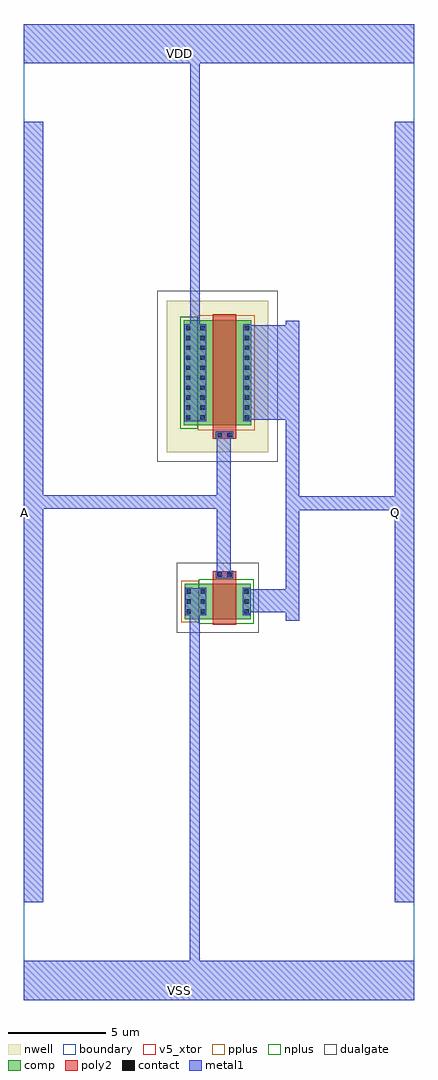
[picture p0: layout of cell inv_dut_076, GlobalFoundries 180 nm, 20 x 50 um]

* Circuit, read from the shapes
.subckt inv_dut_076 A Q VDD VSS
XM1 Q A VSS VSS nfet_05v0 w=1.8u l=1.2u
XM2 Q A VDD VDD pfet_05v0 w=5.4u l=1.2u
.ends

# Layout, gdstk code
from math import pi, radians
import gdstk
lib = gdstk.Library(unit=1e-6, precision=1e-09)
def R(c, l, rs):  # rectangles x0, y0, x1, y1
    for r in rs: c.add(gdstk.rectangle(r[:2], r[2:], *l))
def A(c, l, x, y, w, h, nx, ny, dx, dy):  # array of equal rectangles
    R(c, l, [(x+i*dx, y+j*dy, x+i*dx+w, y+j*dy+h) for i in range(nx) for j in range(ny)])
boundary = (0, 0)
nwell = (21, 0)
comp = (22, 0)
poly2 = (30, 0)
pplus = (31, 0)
nplus = (32, 0)
contact = (33, 0)
metal1 = (34, 0)
dualgate = (55, 0)
v5_xtor = (112, 1)

nfet = lib.new_cell('nfet')
R(nfet, comp, [(-0.42,0,2.95,1.8)])
R(nfet, poly2, [(0.31,-0.3,1.51,2.46)])
R(nfet, pplus, [(2.24,-0.17,3.12,1.97)])
R(nfet, nplus, [(-0.59,-0.24,2.24,2.04)])
A(nfet, contact, -0.32, 0.28, 0.22, 0.22, 1, 3, 0, 0.51)
A(nfet, contact, 1.92, 0.28, 0.22, 0.22, 1, 3, 0, 0.51)
A(nfet, contact, 2.63, 0.28, 0.22, 0.22, 1, 3, 0, 0.51)
R(nfet, contact, [(0.545,2.17,0.765,2.39), (1.055,2.17,1.275,2.39)])
R(nfet, metal1, [(-0.4,0.2,-0.02,1.6), (1.84,0.2,2.22,1.6), (2.55,0.2,2.93,1.6), (0.465,2.09,1.355,2.47)])
R(nfet, dualgate, [(-0.84,-0.71,3.37,2.88)])
R(nfet, v5_xtor, [(-0.84,-0.71,3.37,2.88)])

pfet = lib.new_cell('pfet')
R(pfet, nwell, [(-1.32,-0.99,3.87,6.77)])
R(pfet, comp, [(-0.46,0,3.01,5.4)])
R(pfet, poly2, [(0.31,-0.3,1.51,6.08)])
R(pfet, pplus, [(-0.63,-0.24,2.28,5.64)])
R(pfet, nplus, [(2.28,-0.17,3.18,5.57)])
A(pfet, contact, -0.34, 0.295, 0.22, 0.22, 1, 10, 0, 0.51)
A(pfet, contact, 1.94, 0.295, 0.22, 0.22, 1, 10, 0, 0.51)
A(pfet, contact, 2.67, 0.295, 0.22, 0.22, 1, 10, 0, 0.51)
R(pfet, contact, [(0.545,5.78,0.765,6), (1.055,5.78,1.275,6)])
R(pfet, metal1, [(-0.42,0.215,-0.04,5.185), (1.86,0.215,2.24,5.185), (2.59,0.215,2.97,5.185), (0.465,5.7,1.355,6.08)])
R(pfet, dualgate, [(-1.82,-1.49,4.37,7.27)])
R(pfet, v5_xtor, [(-1.82,-1.49,4.37,7.27)])

inv_dut_076 = lib.new_cell('inv_dut_076')
R(inv_dut_076, boundary, [(-10,-25,10,25)])
R(inv_dut_076, metal1, [(-10,-25,10,-23), (-10,-20,-9,20), (9,-20,10,20), (-10,23,10,25)])
inv_dut_076.add(gdstk.FlexPath([(0.245,4.145),(0.245,-3.355)], 0.7, ends="flush", simple_path=True, layer=34, datatype=0))  # metal1
inv_dut_076.add(gdstk.FlexPath([(-9.46,0.505),(0.2,0.505),(0.46,0.505)], 0.7, ends="flush", simple_path=True, layer=34, datatype=0))  # metal1
inv_dut_076.add(gdstk.FlexPath([(-1.66,-4.51),(-0.71,-4.51)], 1.2, ends="flush", simple_path=True, layer=34, datatype=0))  # metal1
inv_dut_076.add(gdstk.FlexPath([(-1.24,-4.65),(-1.24,-24.31)], 0.5, ends="flush", simple_path=True, layer=34, datatype=0))  # metal1
inv_dut_076.add(gdstk.FlexPath([(-1.23,9.225),(-1.23,23.785)], 0.5, ends="flush", simple_path=True, layer=34, datatype=0))  # metal1
inv_dut_076.add(gdstk.FlexPath([(-1.2,9.54),(-1.2,4.645)], 1, ends="flush", simple_path=True, layer=34, datatype=0))  # metal1
inv_dut_076.add(gdstk.FlexPath([(3.76,9.785),(3.76,-5.58)], 0.7, ends="flush", simple_path=True, layer=34, datatype=0))  # metal1
inv_dut_076.add(gdstk.FlexPath([(1.275,-4.545),(3.83,-4.545)], 1.2, ends="flush", simple_path=True, layer=34, datatype=0))  # metal1
inv_dut_076.add(gdstk.FlexPath([(2.535,9.565),(2.535,4.72)], 2.5, ends="flush", simple_path=True, layer=34, datatype=0))  # metal1
inv_dut_076.add(gdstk.FlexPath([(3.755,0.45),(9.57,0.45)], 0.7, ends="flush", simple_path=True, layer=34, datatype=0))  # metal1
inv_dut_076.add(gdstk.Reference(nfet, (1.195,-5.485), rotation=pi, x_reflection=True))
inv_dut_076.add(gdstk.Reference(pfet, (1.2,9.835), rotation=pi))
inv_dut_076.add(gdstk.Label('VDD', (-2,23.5), layer=34, texttype=10))
inv_dut_076.add(gdstk.Label('VSS', (-2,-24.5), layer=34, texttype=10))
inv_dut_076.add(gdstk.Label('A', (-9.97,0), layer=34, texttype=10))
inv_dut_076.add(gdstk.Label('Q', (9.03,0), layer=34, texttype=10))

lib.write_gds('inv_dut_076.gds')
